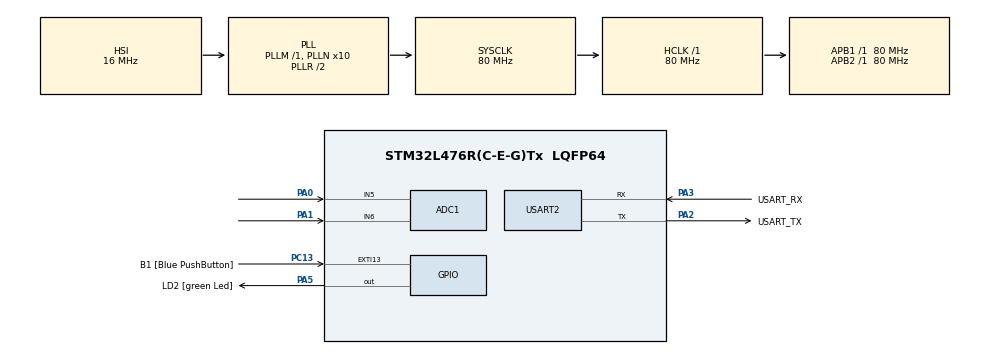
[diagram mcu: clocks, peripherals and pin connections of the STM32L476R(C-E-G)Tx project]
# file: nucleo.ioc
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ADC1.Channel-13\#ChannelRegularConversion=ADC_CHANNEL_5
ADC1.NbrOfConversionFlag=1
ADC1.OffsetNumber-13\#ChannelRegularConversion=ADC_OFFSET_NONE
ADC1.Rank-13\#ChannelRegularConversion=1
ADC1.SamplingTime-13\#ChannelRegularConversion=ADC_SAMPLETIME_2CYCLES_5
ADC1.SingleDiff-13\#ChannelRegularConversion=ADC_DIFFERENTIAL_ENDED
ADC1.master=1
Dma.MEMTOMEM.0.Direction=DMA_MEMORY_TO_MEMORY
Dma.MEMTOMEM.0.Instance=DMA2_Channel1
Dma.MEMTOMEM.0.MemDataAlignment=DMA_MDATAALIGN_BYTE
Dma.MEMTOMEM.0.MemInc=DMA_MINC_ENABLE
Dma.MEMTOMEM.0.Mode=DMA_NORMAL
Dma.MEMTOMEM.0.PeriphDataAlignment=DMA_PDATAALIGN_BYTE
Dma.MEMTOMEM.0.PeriphInc=DMA_PINC_ENABLE
Dma.MEMTOMEM.0.Priority=DMA_PRIORITY_LOW
Dma.Request0=MEMTOMEM
Mcu.Family=STM32L4
Mcu.Name=STM32L476R(C-E-G)Tx
Mcu.Package=LQFP64
NVIC.ADC1_2_IRQn=true\:0\:0\:false\:false\:true\:true
NVIC.PriorityGroup=NVIC_PRIORITYGROUP_4
NVIC.USART2_IRQn=true\:0\:0\:false\:true\:true\:1\:true
PA0.Signal=ADCx_IN5
PA1.Signal=ADCx_IN6
PA13\ (JTMS-SWDIO).GPIO_Label=TMS
PA13\ (JTMS-SWDIO).Mode=Serial_Wire
PA13\ (JTMS-SWDIO).Signal=SYS_JTMS-SWDIO
PA14\ (JTCK-SWCLK).GPIO_Label=TCK
PA14\ (JTCK-SWCLK).Mode=Serial_Wire
PA14\ (JTCK-SWCLK).Signal=SYS_JTCK-SWCLK
PA2.GPIO_Label=USART_TX
PA2.GPIO_Mode=GPIO_MODE_AF_PP
PA2.GPIO_PuPd=GPIO_NOPULL
PA2.GPIO_Speed=GPIO_SPEED_FREQ_VERY_HIGH
PA2.Mode=Asynchronous
PA2.Signal=USART2_TX
PA3.GPIO_Label=USART_RX
PA3.GPIO_Mode=GPIO_MODE_AF_PP
PA3.GPIO_PuPd=GPIO_NOPULL
PA3.GPIO_Speed=GPIO_SPEED_FREQ_VERY_HIGH
PA3.Mode=Asynchronous
PA3.Signal=USART2_RX
PA5.GPIO_Label=LD2 [green Led]
PA5.GPIO_ModeDefaultOutputPP=GPIO_MODE_OUTPUT_PP
PA5.GPIO_PuPd=GPIO_NOPULL
PA5.GPIO_Speed=GPIO_SPEED_FREQ_LOW
PA5.Signal=GPIO_Output
PB3\ (JTDO-TRACESWO).GPIO_Label=SWO
PB3\ (JTDO-TRACESWO).Signal=SYS_JTDO-SWO
PC0.Signal=ADCx_IN1
PC1.Signal=ADCx_IN2
PC13.GPIO_Label=B1 [Blue PushButton]
PC13.GPIO_ModeDefaultEXTI=GPIO_MODE_IT_FALLING
PC13.GPIO_PuPd=GPIO_NOPULL
PC13.Signal=GPXTI13
PC14-OSC32_IN\ (PC14).Mode=LSE-External-Oscillator
PC14-OSC32_IN\ (PC14).Signal=RCC_OSC32_IN
PC15-OSC32_OUT\ (PC15).Mode=LSE-External-Oscillator
PC15-OSC32_OUT\ (PC15).Signal=RCC_OSC32_OUT
PH0-OSC_IN\ (PH0).Signal=RCC_OSC_IN
PH1-OSC_OUT\ (PH1).Signal=RCC_OSC_OUT
ProjectManager.HeapSize=0x4000
ProjectManager.StackSize=0x2000
ProjectManager.TargetToolchain=MDK-ARM V5
RCC.ADCFreq_Value=64000000
RCC.AHBFreq_Value=80000000
RCC.APB1Freq_Value=80000000
RCC.APB1TimFreq_Value=80000000
RCC.APB2Freq_Value=80000000
RCC.APB2TimFreq_Value=80000000
RCC.CortexFreq_Value=80000000
RCC.HCLKFreq_Value=80000000
RCC.HSE_VALUE=8000000
RCC.HSI_VALUE=16000000
RCC.MSI_VALUE=4000000
RCC.PLLN=10
RCC.PLLSourceVirtual=RCC_PLLSOURCE_HSI
RCC.PREFETCH_ENABLE=1
RCC.SYSCLKFreq_VALUE=80000000
RCC.SYSCLKSource=RCC_SYSCLKSOURCE_PLLCLK
RCC.USBFreq_Value=64000000
RCC.VCOOutputFreq_Value=160000000
SH.ADCx_IN1.0=ADC2_IN1
SH.ADCx_IN1.1=ADC1_IN1
SH.ADCx_IN2.0=ADC3_IN2
SH.ADCx_IN2.1=ADC1_IN2
SH.ADCx_IN5.0=ADC1_IN5,IN5-Differential
SH.ADCx_IN6.0=ADC1_IN6,IN5-Differential
USART2.VirtualMode-Asynchronous=VM_ASYNC
board=NUCLEO-L476RG

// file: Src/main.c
/* USER CODE BEGIN Header */
/**
  ******************************************************************************
  * @file           : main.c
  * @brief          : Main program body
  ******************************************************************************
  ** This notice applies to any and all portions of this file
  * that are not between comment pairs USER CODE BEGIN and
  * USER CODE END. Other portions of this file, whether
  * inserted by the user or by software development tools
  * are owned by their respective copyright owners.
  *
  * COPYRIGHT(c) 2019 STMicroelectronics
  *
  * Redistribution and use in source and binary forms, with or without modification,
  * are permitted provided that the following conditions are met:
  *   1. Redistributions of source code must retain the above copyright notice,
  *      this list of conditions and the following disclaimer.
  *   2. Redistributions in binary form must reproduce the above copyright notice,
  *      this list of conditions and the following disclaimer in the documentation
  *      and/or other materials provided with the distribution.
  *   3. Neither the name of STMicroelectronics nor the names of its contributors
  *      may be used to endorse or promote products derived from this software
  *      without specific prior written permission.
  *
  * THIS SOFTWARE IS PROVIDED BY THE COPYRIGHT HOLDERS AND CONTRIBUTORS "AS IS"
  * AND ANY EXPRESS OR IMPLIED WARRANTIES, INCLUDING, BUT NOT LIMITED TO, THE
  * IMPLIED WARRANTIES OF MERCHANTABILITY AND FITNESS FOR A PARTICULAR PURPOSE ARE
  * DISCLAIMED. IN NO EVENT SHALL THE COPYRIGHT HOLDER OR CONTRIBUTORS BE LIABLE
  * FOR ANY DIRECT, INDIRECT, INCIDENTAL, SPECIAL, EXEMPLARY, OR CONSEQUENTIAL
  * DAMAGES (INCLUDING, BUT NOT LIMITED TO, PROCUREMENT OF SUBSTITUTE GOODS OR
  * SERVICES; LOSS OF USE, DATA, OR PROFITS; OR BUSINESS INTERRUPTION) HOWEVER
  * CAUSED AND ON ANY THEORY OF LIABILITY, WHETHER IN CONTRACT, STRICT LIABILITY,
  * OR TORT (INCLUDING NEGLIGENCE OR OTHERWISE) ARISING IN ANY WAY OUT OF THE USE
  * OF THIS SOFTWARE, EVEN IF ADVISED OF THE POSSIBILITY OF SUCH DAMAGE.
  *
  ******************************************************************************
  */
/* USER CODE END Header */

#include "main.h"
#include "adc.h"
#include "dma.h"
#include "usart.h"
#include "gpio.h"

/* USER CODE BEGIN Includes */
#include <string.h>
#include <scope.h>
//#include <arm_math.h>
#include <math.h>
/* USER CODE END Includes */

/* USER CODE BEGIN PV */
/* UART handler declaration */
__IO ITStatus RxReady = RESET;
__IO ITStatus TxReady = RESET;

uint8_t aTxBuffer[6000];
#define UART_INPUT_SIZE 300
uint8_t aRxBuffer[UART_INPUT_SIZE];

volatile bool adc_it_is_cleared = false;
volatile float adcValue = 0.0f;
uint32_t timestamp = 0;
uint32_t timestamp_safe = 0;

static const float frequency = 20.0f;
float sinus = 0.0f;
float cosinus = 0.0f;
float leistung = 0.0f;
uint8_t schmitttriggered = 0;

bool transmitting = false;

/* USER CODE END PV */

void SystemClock_Config(void);
static void MX_NVIC_Init(void);

/* USER CODE BEGIN PFP */
void transmit_data(UartJsonHandle self);

/* USER CODE END PFP */

int main(void){

    /* MCU Configuration--------------------------------------------------------*/

    /* Reset of all peripherals, Initializes the Flash interface and the Systick. */
    HAL_Init();

    /* Configure the system clock */
    SystemClock_Config();

    /* Initialize all configured peripherals */
    MX_GPIO_Init();
    MX_DMA_Init();
    MX_USART2_UART_Init();
    MX_ADC1_Init();

    /* Initialize interrupts */
    MX_NVIC_Init();
    /* USER CODE BEGIN 2 */

    scope_init(transmit_data, &timestamp_safe);

    /* adding some variables to the AddressStorage
     * These can be trasmitted to the host if wanted */
    AddressStorage_addAnnounceAddress(addressStorage, "sinus", &sinus, SE_FLOAT, 0);
    AddressStorage_addAnnounceAddress(addressStorage, "cosinus", &cosinus, SE_FLOAT, 1);
    AddressStorage_addAnnounceAddress(addressStorage, "tangent", &leistung, SE_FLOAT, 2);
    AddressStorage_addAnnounceAddress(addressStorage, "schmitttriggered", &schmitttriggered, SE_UINT8, 3);

    HAL_UART_Receive_IT(&huart2, (uint8_t*) aRxBuffer, UART_INPUT_SIZE);
    HAL_ADC_Start_IT(&hadc1);

    /* USER CODE END 2 */

    /* Infinite loop */
    while(1){

        /* USER CODE BEGIN 3 */
        /* Update timestmap */

	      timestamp = HAL_GetTick();

        if(adc_it_is_cleared == true){
            adc_it_is_cleared = false;
            HAL_ADC_Start_IT(&hadc1);
        }

		    if(TxReady == SET){
			    UartJson_resetTx(uartJson);
			    TxReady = RESET;
		    }
		    if(RxReady == SET){
			    UartJson_putRxData(uartJson, aRxBuffer, UART_INPUT_SIZE);
			    RxReady = RESET;
			    HAL_UART_Receive_IT(&huart2, (uint8_t*) aRxBuffer, UART_INPUT_SIZE);
		    }

        if(timestamp > timestamp_safe && transmitting == false){

            timestamp_safe = timestamp;
            float t_in_s = timestamp / 1000.0f;

            // TODO take pi from math.h
            sinus = 2 * sinf(2 *  3.14159f * frequency * t_in_s);
            cosinus = 2 * cosf(2 *  3.14159f * frequency * t_in_s);
            leistung = sinus * cosinus;
            schmitttriggered = (adcValue > 1) ? 2 : 0;

            scope_run();
        }
    }
    return 0;
    /* USER CODE END 3 */
}

void SystemClock_Config(void){
    RCC_OscInitTypeDef RCC_OscInitStruct = {0};
    RCC_ClkInitTypeDef RCC_ClkInitStruct = {0};
    RCC_PeriphCLKInitTypeDef PeriphClkInit = {0};

    /**Initializes the CPU, AHB and APB busses clocks
    */
    RCC_OscInitStruct.OscillatorType = RCC_OSCILLATORTYPE_HSI;
    RCC_OscInitStruct.HSIState = RCC_HSI_ON;
    RCC_OscInitStruct.HSICalibrationValue = RCC_HSICALIBRATION_DEFAULT;
    RCC_OscInitStruct.PLL.PLLState = RCC_PLL_ON;
    RCC_OscInitStruct.PLL.PLLSource = RCC_PLLSOURCE_HSI;
    RCC_OscInitStruct.PLL.PLLM = 1;
    RCC_OscInitStruct.PLL.PLLN = 10;
    RCC_OscInitStruct.PLL.PLLP = RCC_PLLP_DIV7;
    RCC_OscInitStruct.PLL.PLLQ = RCC_PLLQ_DIV2;
    RCC_OscInitStruct.PLL.PLLR = RCC_PLLR_DIV2;
    if(HAL_RCC_OscConfig(&RCC_OscInitStruct) != HAL_OK){
        Error_Handler();
    }
    /**Initializes the CPU, AHB and APB busses clocks
    */
    RCC_ClkInitStruct.ClockType = RCC_CLOCKTYPE_HCLK | RCC_CLOCKTYPE_SYSCLK
                                  | RCC_CLOCKTYPE_PCLK1 | RCC_CLOCKTYPE_PCLK2;
    RCC_ClkInitStruct.SYSCLKSource = RCC_SYSCLKSOURCE_PLLCLK;
    RCC_ClkInitStruct.AHBCLKDivider = RCC_SYSCLK_DIV1;
    RCC_ClkInitStruct.APB1CLKDivider = RCC_HCLK_DIV1;
    RCC_ClkInitStruct.APB2CLKDivider = RCC_HCLK_DIV1;

    if(HAL_RCC_ClockConfig(&RCC_ClkInitStruct, FLASH_LATENCY_4) != HAL_OK){
        Error_Handler();
    }
    PeriphClkInit.PeriphClockSelection = RCC_PERIPHCLK_USART2 | RCC_PERIPHCLK_ADC;
    PeriphClkInit.Usart2ClockSelection = RCC_USART2CLKSOURCE_PCLK1;
    PeriphClkInit.AdcClockSelection = RCC_ADCCLKSOURCE_PLLSAI1;
    PeriphClkInit.PLLSAI1.PLLSAI1Source = RCC_PLLSOURCE_HSI;
    PeriphClkInit.PLLSAI1.PLLSAI1M = 1;
    PeriphClkInit.PLLSAI1.PLLSAI1N = 8;
    PeriphClkInit.PLLSAI1.PLLSAI1P = RCC_PLLP_DIV7;
    PeriphClkInit.PLLSAI1.PLLSAI1Q = RCC_PLLQ_DIV2;
    PeriphClkInit.PLLSAI1.PLLSAI1R = RCC_PLLR_DIV2;
    PeriphClkInit.PLLSAI1.PLLSAI1ClockOut = RCC_PLLSAI1_ADC1CLK;
    if(HAL_RCCEx_PeriphCLKConfig(&PeriphClkInit) != HAL_OK){
        Error_Handler();
    }
    /**Configure the main internal regulator output voltage
    */
    if(HAL_PWREx_ControlVoltageScaling(PWR_REGULATOR_VOLTAGE_SCALE1) != HAL_OK){
        Error_Handler();
    }
}

/**
  * @brief NVIC Configuration.
  * @retval None
  */
static void MX_NVIC_Init(void){
    /* USART2_IRQn interrupt configuration */
    HAL_NVIC_SetPriority(USART2_IRQn, 0, 0);
    HAL_NVIC_EnableIRQ(USART2_IRQn);
}

/* USER CODE BEGIN 4 */
void transmit_data(UartJsonHandle self){

    size_t length = UartJson_amountOfTxDataPending(uartJson);
    UartJson_getTxData(uartJson, aTxBuffer, length);
    HAL_UART_Transmit_IT(&huart2, aTxBuffer, (uint16_t) length);
		transmitting = true;
}

/**
  * @brief  Tx Transfer completed callback
  * @param  UartHandle: UART handle.
  * @note   This example shows a simple way to report end of IT Tx transfer, and
  *         you can add your own implementation.
  * @retval None
  */
void HAL_UART_TxCpltCallback(UART_HandleTypeDef* UartHandle){
    /* Set transmission flag: transfer complete */
    HAL_UART_Receive_IT(&huart2, (uint8_t*) aRxBuffer, UART_INPUT_SIZE);
		TxReady = SET;
		transmitting = false;
}

/**
  * @brief  Rx Transfer completed callback
  * @param  UartHandle: UART handle
  * @note   This example shows a simple way to report end of DMA Rx transfer, and
  *         you can add your own implementation.
  * @retval None
  */
void HAL_UART_RxCpltCallback(UART_HandleTypeDef* UartHandle){
    /* Set transmission flag: transfer complete */
    RxReady = SET;
}

void HAL_ADC_ConvCpltCallback(ADC_HandleTypeDef* hadc){

    uint32_t adc = HAL_ADC_GetValue(hadc);

    adcValue =  (float)(((float) adc / (1 << 12)) -0.49) * 4;
    adc_it_is_cleared = true;
}

/* USER CODE END 4 */

void Error_Handler(void){
    /* USER CODE BEGIN Error_Handler_Debug */
    /* User can add his own implementation to report the HAL error return state */

    volatile int error;

    while(1){
        error = 1;
    }
    /* USER CODE END Error_Handler_Debug */
}

/************************ (C) COPYRIGHT STMicroelectronics *****END OF FILE****/
